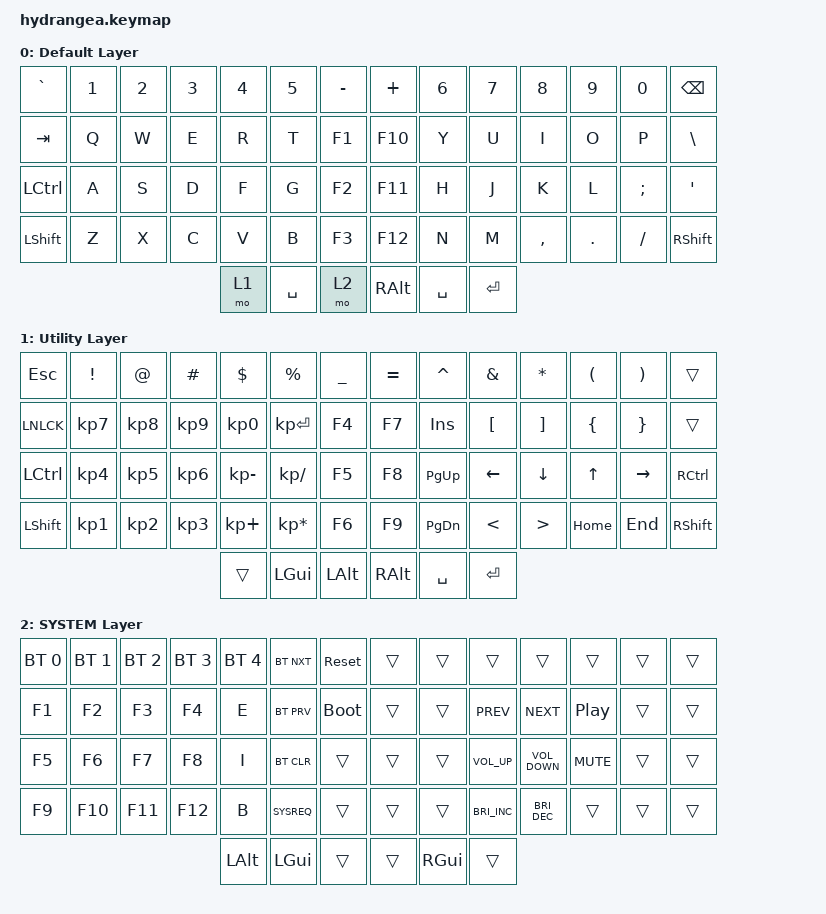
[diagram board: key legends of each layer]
/*
 * Copyright (c) 2020 The ZMK Contributors
 *
 * SPDX-License-Identifier: MIT
 */

#include <behaviors.dtsi>
#include <dt-bindings/zmk/keys.h>
#include <dt-bindings/zmk/bt.h>

/ {
      keymap {
            compatible = "zmk,keymap";
            default_layer {
                  display-name = "Default Layer";
                  bindings = <
//    -------------------------------------------------------------------------------------------------------------------------------------------------------------------------------
//    |  `        |  1        |  2        |  3        |  4        |  5        |  -              | +         |  6        |  7        |  8        |  9        |  0        | BSPC      |
//    | TAB       |  Q        |  W        |  E        |  R        |  T        | F01             | F10       |  Y        |  U        |  I        |  O        |  P        |  \        |
//    | L_CTRL    |  A        |  S        |  D        |  F        |  G        | F02             | F11       |  H        |  J        |  K        |  L        |  ;        |  '        |
//    | L_SHFT    |  Z        |  X        |  C        |  V        |  B        | F03             | F12       |  N        |  M        |  ,        |  .        |  /        | R_SHIFT   |
//                                                    | ULTIL     | SPC       | SYSTEM          | R_ALT     | SPC       |  ENT      |
//    -------------------------------------------------------------------------------------------------------------------------------------------------------------------------------
      &kp GRAVE   &kp N1      &kp N2      &kp N3      &kp N4      &kp N5      &kp MINUS         &kp PLUS    &kp N6      &kp N7      &kp N8      &kp N9      &kp N0      &kp BSPC
      &kp TAB     &kp Q       &kp W       &kp E       &kp R       &kp T       &kp F1            &kp F10     &kp Y       &kp U       &kp I       &kp O       &kp P       &kp BSLH
      &kp LCTRL   &kp A       &kp S       &kp D       &kp F       &kp G       &kp F2            &kp F11     &kp H       &kp J       &kp K       &kp L       &kp SEMI    &kp APOS
      &kp LSHFT   &kp Z       &kp X       &kp C       &kp V       &kp B       &kp F3            &kp F12     &kp N       &kp M       &kp COMMA   &kp DOT     &kp FSLH    &kp RSHFT
                                                      &mo 1       &kp SPACE   &mo 2             &kp RALT    &kp SPACE   &kp RET
                  >;
            };
            lower_layer {
                  display-name = "Utility Layer";
                  bindings = <
//    -------------------------------------------------------------------------------------------------------------------------------------------------------------------------------
//    | ESC       |  !        | @         | #         | $         | %         |  _              | =         | ^         | &         | *         | (         | )         |           |
//    | KP_NUMLK  | KP_N7     | KP_N8     | KP_N9     | KP_N0     | KP_ENTER  | F04             | F07       | INS       | [         | ]         | {         | }         |           |
//    | L_CTRL    | KP_N4     | KP_N5     | KP_N6     | KP_-      | KP_/      | F05             | F08       | PAGE_UP   | LEFT      | DOWN      | UP        | RIGHT     | R_CTRL    |
//    | L_SHIFT   | KP_N1     | KP_N2     | KP_N3     | KP_+      | KP_*      | F06             | F09       | PAGE_DOWNs| <         | >         | HOME      | END       | R_SHIFT   |
//                                                    |           | L_GUI     | L_ALT           | R_ALT     | R_GUI     |           |
//    -------------------------------------------------------------------------------------------------------------------------------------------------------------------------------
      &kp ESC     &kp EXCL    &kp AT      &kp HASH    &kp DOLLAR        &kp PRCNT         &kp UNDER         &kp EQUAL    &kp CARET        &kp AMPS    &kp ASTRK   &kp LPAR    &kp RPAR   &trans
      &kp LNLCK   &kp KP_N7   &kp KP_N8   &kp KP_N9   &kp KP_N0         &kp KP_ENTER      &kp F4            &kp F7       &kp INS          &kp LBKT    &kp RBKT    &kp LBRC    &kp RBRC   &trans
      &kp LCTRL   &kp KP_N4   &kp KP_N5   &kp KP_N6   &kp KP_MINUS      &kp KP_SLASH      &kp F5            &kp F8       &kp PAGE_UP      &kp LEFT    &kp DOWN    &kp UP      &kp RIGHT  &kp RCTRL
      &kp LSHFT   &kp KP_N1   &kp KP_N2   &kp KP_N3   &kp KP_PLUS       &kp KP_ASTERISK   &kp F6            &kp F9       &kp PAGE_DOWN    &kp LT      &kp GT      &kp HOME    &kp END    &kp RSHFT
                                                      &trans            &kp LGUI          &kp LALT          &kp RALT     &kp SPACE        &kp RET
                  >;
            };
            raise_layer {
                  display-name = "SYSTEM Layer";
                  bindings = <
//    -------------------------------------------------------------------------------------------------------------------------------------------------------------------------------
//    | BT_SEL 0  | BT_SEL 1  | BT_SEL 2  | BT_SEL 3  | BT_SEL 4  | BT_NEXT   | SYS_RESET       |           |           |           |           |           |           |           |
//    |  F01      | F02       | F03       | F04       | E         | BT_PREV   | BOOTLOADER      |           |           | FWD       | BWD       | PLAY      |           |           |
//    |  F05      | F06       | F07       | F08       | I         | BT_CLEAR  |                 |           |           | VOL_UP    | VOL_DOWN  | MUTE      |           |           |
//    |  F09      | F10       | F11       | F12       | B         | SYSREQ    |                 |           |           | SCRN_UP   | SCRN_DOWN |           |           |           |
//                                                    | L_ALT     | L_GUI     |                 |           | R_GUI     |           |
//    -------------------------------------------------------------------------------------------------------------------------------------------------------------------------------
      &bt BT_SEL 0      &bt BT_SEL 1      &bt BT_SEL 2      &bt BT_SEL 3      &bt BT_SEL 4      &bt BT_NXT        &sys_reset        &trans      &trans      &trans                  &trans                  &trans      &trans      &trans      
      &kp F1            &kp F2            &kp F3            &kp F4            &kp E             &bt BT_PRV        &bootloader       &trans      &trans      &kp C_PREV              &kp C_NEXT              &kp C_PP    &trans      &trans      
      &kp F5            &kp F6            &kp F7            &kp F8            &kp I             &bt BT_CLR        &trans            &trans      &trans      &kp C_VOLUME_UP         &kp C_VOLUME_DOWN       &kp C_MUTE  &trans      &trans
      &kp F9            &kp F10           &kp F11           &kp F12           &kp B             &kp SYSREQ        &trans            &trans      &trans      &kp C_BRIGHTNESS_INC    &kp C_BRIGHTNESS_DEC    &trans      &trans      &trans      
                                                                              &kp LALT          &kp LGUI          &trans            &trans      &kp RGUI    &trans
                  >;
            };
      };
};
